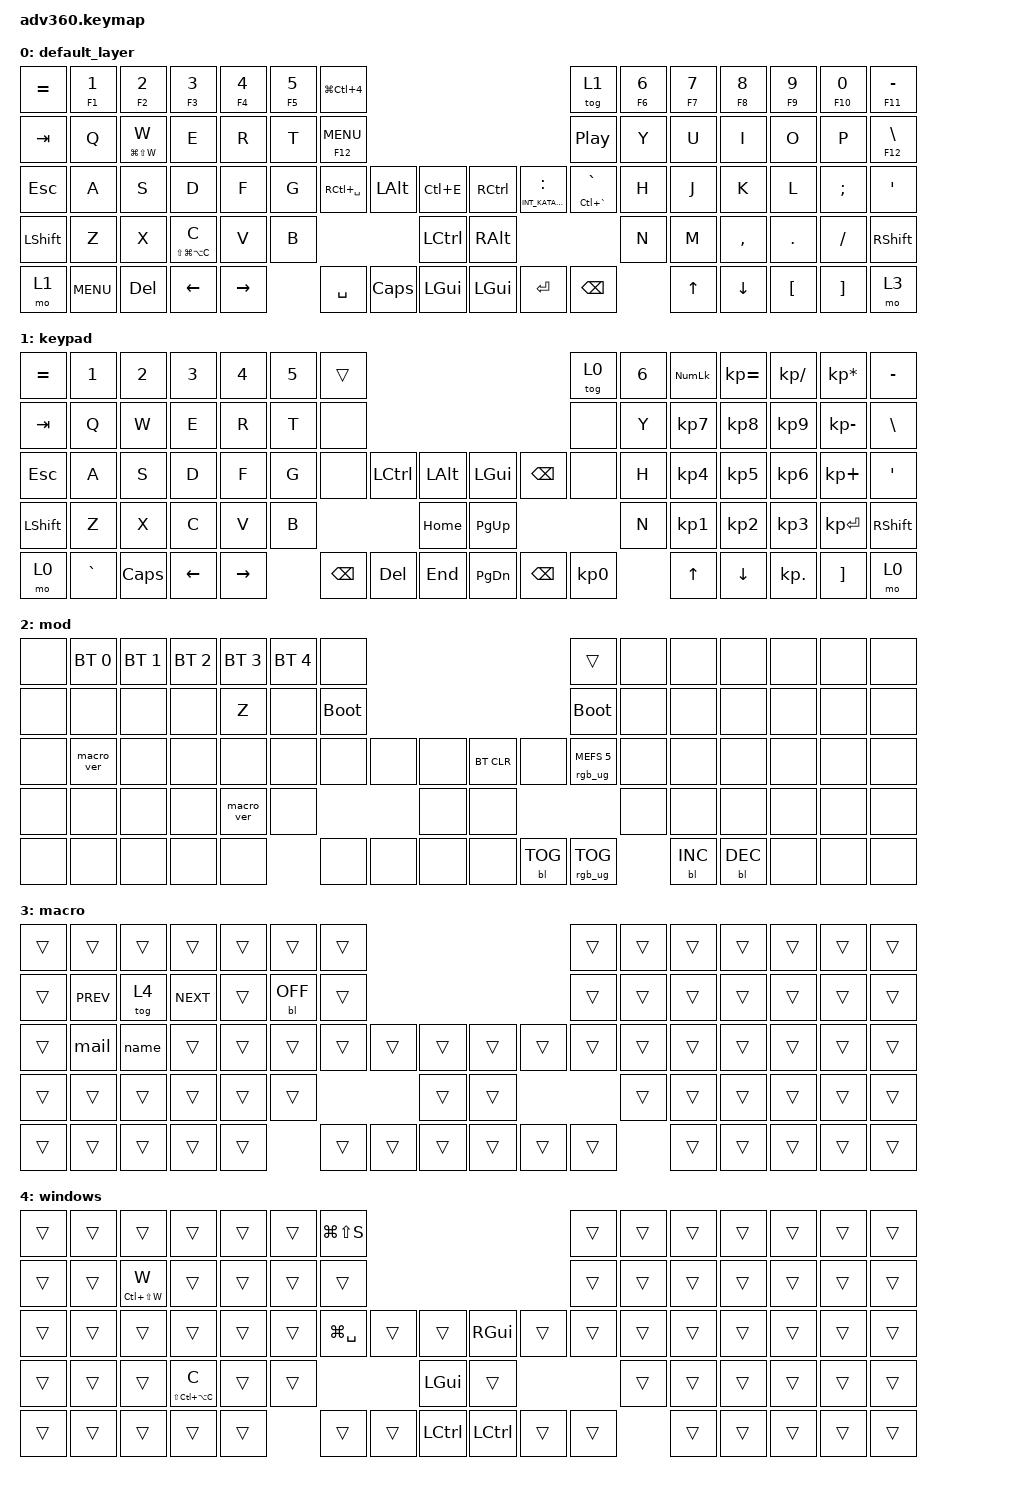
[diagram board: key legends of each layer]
#include <dt-bindings/zmk/mouse.h>
#include <behaviors.dtsi>
#include <dt-bindings/zmk/backlight.h>
#include <dt-bindings/zmk/bt.h>
#include <dt-bindings/zmk/keys.h>
#include <dt-bindings/zmk/rgb.h>

/ {
    behaviors {
        #include "macros.dtsi"
      #include "version.dtsi"
      #ifndef VERSION_MACRO





        #endif

        tpf: tpf {
            compatible = "zmk,behavior-hold-tap";
            label = "TPF";
            bindings = <&kp>, <&kp>;

            #binding-cells = <2>;
            hold-trigger-key-positions = <1 2 3 4 5 8 9 10 11 12 13 27>;
            tapping-term-ms = <200>;
        };
    };

    macros {
        mail: mail {
            compatible = "zmk,behavior-macro";
            #binding-cells = <0>;
            bindings = <&none &kp M &kp E &kp AT &kp A &kp L &kp J &kp U &kp F &kp A &kp I &kp R &kp I &kp DOT &kp O &kp R &kp G>;
            label = "MAIL";
        };

        name: name {
            compatible = "zmk,behavior-macro";
            #binding-cells = <0>;
            bindings = <&none &kp LS(A) &kp L &kp I &kp SPACE &kp LS(R) &kp E &kp D &kp H &kp A &kp SPACE &kp LS(A) &kp L &kp I &kp SPACE &kp LS(A) &kp B &kp D &kp U &kp L &kp L &kp A &kp SPACE &kp LS(A) &kp L &kp J &kp U &kp F &kp A &kp I &kp R &kp I>;
            label = "NAME";
        };
    };

    combos {
        compatible = "zmk,combos";

#if defined(CONFIG_ZMK_STUDIO)
        // Unlock Studio without replacing any existing key assignments.
        combo_studio_unlock {
            bindings = <&studio_unlock>;
            key-positions = <46 59>;
            timeout-ms = <50>;
            layers = <0>;
        };
#endif

        combo {
            bindings = <&kp K_SCREENSAVER>;
            key-positions = <61>;
            layers = <0>;
        };
    };

    keymap {
        compatible = "zmk,keymap";

        default_layer {
            bindings = <
&kp EQUAL  &tpf F1 NUMBER_1  &tpf F2 NUMBER_2  &tpf F3 NUMBER_3      &tpf F4 NUMBER_4  &tpf F5 N5  &kp LG(LC(NUMBER_4))                                                                                          &tog 1                &tpf F6 NUMBER_6  &tpf F7 N7  &tpf F8 NUMBER_8  &tpf F9 N9  &tpf F10 NUMBER_0  &tpf F11 MINUS
&kp TAB    &kp Q             &tpf LG(LS(W)) W  &kp E                 &kp R             &kp T       &tpf F12 C_MENU                                                                                               &kp C_PLAY_PAUSE      &kp Y             &kp U       &kp I             &kp O       &kp P              &tpf F12 BACKSLASH
&kp ESC    &kp A             &kp S             &kp D                 &kp F             &kp G       &kp RC(SPACE)         &kp LEFT_ALT  &kp LC(E)             &kp RIGHT_CONTROL  &tpf INT_KATAKANAHIRAGANA COLON  &tpf LC(GRAVE) GRAVE  &kp H             &kp J       &kp K             &kp L       &kp SEMI           &kp SQT
&kp LSHFT  &kp Z             &kp X             &tpf LS(LG(LA(C))) C  &kp V             &kp B                                           &kp LEFT_CONTROL      &kp RIGHT_ALT                                                             &kp N             &kp M       &kp COMMA         &kp DOT     &kp FSLH           &kp RSHFT
&mo 1      &kp K_MENU        &kp DELETE        &kp LEFT              &kp RIGHT                     &kp SPACE             &kp CAPSLOCK  &kp LGUI              &kp LGUI           &kp ENTER                        &kp BACKSPACE                           &kp UP      &kp DOWN          &kp LBKT    &kp RBKT           &mo 3
            >;
        };

        keypad {
            bindings = <
&kp EQUAL  &kp N1     &kp N2    &kp N3    &kp N4     &kp N5  &trans                                                       &tog 0     &kp N6  &kp KP_NUM  &kp KP_EQUAL  &kp KP_DIVIDE  &kp KP_MULTIPLY  &kp MINUS
&kp TAB    &kp Q      &kp W     &kp E     &kp R      &kp T   &none                                                        &none      &kp Y   &kp KP_N7   &kp KP_N8     &kp KP_N9      &kp KP_MINUS     &kp BSLH
&kp ESC    &kp A      &kp S     &kp D     &kp F      &kp G   &none     &kp LCTRL  &kp LALT      &kp LGUI   &kp BACKSPACE  &none      &kp H   &kp KP_N4   &kp KP_N5     &kp KP_N6      &kp KP_PLUS      &kp SQT
&kp LSHFT  &kp Z      &kp X     &kp C     &kp V      &kp B                        &kp HOME      &kp PG_UP                            &kp N   &kp KP_N1   &kp KP_N2     &kp KP_N3      &kp KP_ENTER     &kp RSHFT
&mo 0      &kp GRAVE  &kp CAPS  &kp LEFT  &kp RIGHT          &kp BSPC  &kp DEL    &kp END       &kp PG_DN  &kp BACKSPACE  &kp KP_N0          &kp UP      &kp DOWN      &kp KP_DOT     &kp RBKT         &mo 0
            >;
        };

        mod {
            bindings = <
&none  &bt BT_SEL 0  &bt BT_SEL 1  &bt BT_SEL 2  &bt BT_SEL 3  &bt BT_SEL 4  &none                                                  &trans                  &none  &none       &none       &none  &none  &none
&none  &none         &none         &none         &kp Z         &none         &bootloader                                            &bootloader             &none  &none       &none       &none  &none  &none
&none  &macro_ver    &none         &none         &none         &none         &none        &none  &none      &bt BT_CLR  &none       &rgb_ug RGB_MEFS_CMD 5  &none  &none       &none       &none  &none  &none
&none  &none         &none         &none         &macro_ver    &none                             &none      &none                                           &none  &none       &none       &none  &none  &none
&none  &none         &none         &none         &none                       &none        &none  &none      &none       &bl BL_TOG  &rgb_ug RGB_TOG                &bl BL_INC  &bl BL_DEC  &none  &none  &none
            >;
        };

        macro {
            bindings = <
&trans  &trans      &trans  &trans      &trans  &trans      &trans                                      &trans  &trans  &trans  &trans  &trans  &trans  &trans
&trans  &kp C_PREV  &tog 4  &kp C_NEXT  &trans  &bl BL_OFF  &trans                                      &trans  &trans  &trans  &trans  &trans  &trans  &trans
&trans  &mail       &name   &trans      &trans  &trans      &trans  &trans  &trans      &trans  &trans  &trans  &trans  &trans  &trans  &trans  &trans  &trans
&trans  &trans      &trans  &trans      &trans  &trans                      &trans      &trans                  &trans  &trans  &trans  &trans  &trans  &trans
&trans  &trans      &trans  &trans      &trans              &trans  &trans  &trans      &trans  &trans  &trans          &trans  &trans  &trans  &trans  &trans
            >;
        };
        windows {
            // Windows overlay: toggle with Macro key (hold bottom-right) + W.
            // Transparent except where macOS and Windows differ.
            bindings = <
&trans                &trans                &trans                &trans                &trans                &trans                &kp LG(LS(S))         &trans                &trans                &trans                &trans                &trans                &trans                &trans
&trans                &trans                &tpf LC(LS(W)) W      &trans                &trans                &trans                &trans                &trans                &trans                &trans                &trans                &trans                &trans                &trans
&trans                &trans                &trans                &trans                &trans                &trans                &kp LG(SPACE)         &trans                &trans                &kp RGUI              &trans                &trans                &trans                &trans                &trans                &trans                &trans                &trans
&trans                &trans                &trans                &tpf LS(LC(LA(C))) C  &trans                &trans                &kp LGUI              &trans                &trans                &trans                &trans                &trans                &trans                &trans
&trans                &trans                &trans                &trans                &trans                &trans                &trans                &kp LCTRL             &kp LCTRL             &trans                &trans                &trans                &trans                &trans                &trans                &trans
            >;
        };
    };
};
